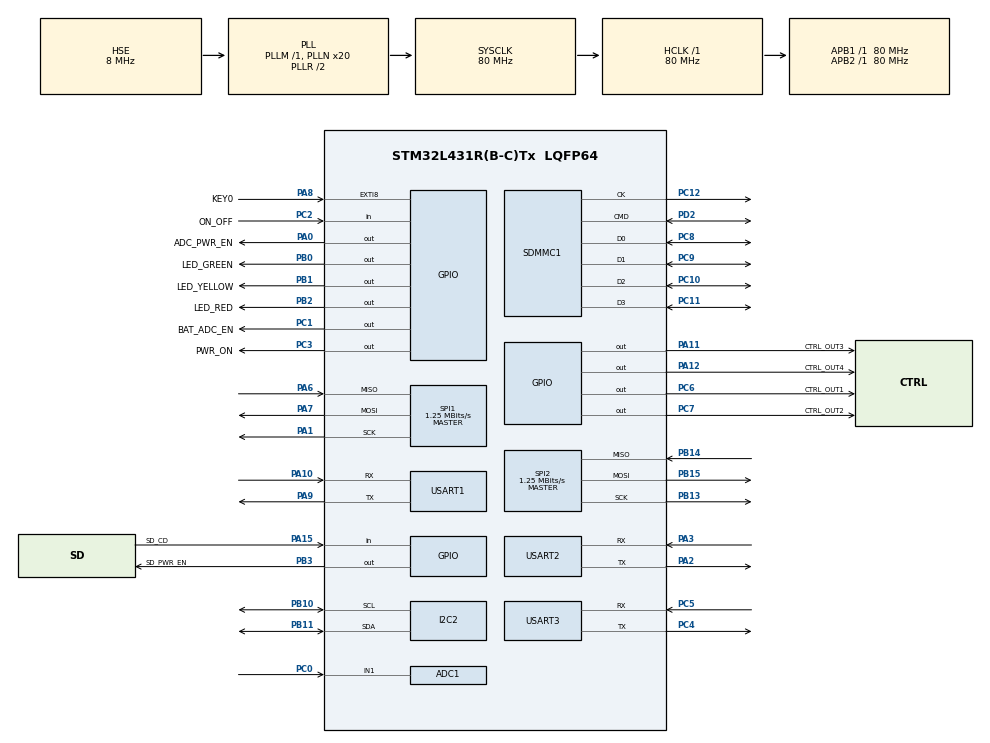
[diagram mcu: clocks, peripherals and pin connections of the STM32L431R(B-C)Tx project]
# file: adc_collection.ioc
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ADC1.Channel-0\#ChannelRegularConversion=ADC_CHANNEL_1
ADC1.ClockPrescaler=ADC_CLOCK_ASYNC_DIV4
ADC1.NbrOfConversionFlag=1
ADC1.OffsetNumber-0\#ChannelRegularConversion=ADC_OFFSET_NONE
ADC1.Rank-0\#ChannelRegularConversion=1
ADC1.SamplingTime-0\#ChannelRegularConversion=ADC_SAMPLETIME_247CYCLES_5
ADC1.master=1
Dma.Request0=SDMMC1_RX
Dma.Request1=SDMMC1_TX
Dma.SDMMC1_RX.0.Direction=DMA_PERIPH_TO_MEMORY
Dma.SDMMC1_RX.0.Instance=DMA2_Channel4
Dma.SDMMC1_RX.0.MemDataAlignment=DMA_MDATAALIGN_WORD
Dma.SDMMC1_RX.0.MemInc=DMA_MINC_ENABLE
Dma.SDMMC1_RX.0.Mode=DMA_NORMAL
Dma.SDMMC1_RX.0.PeriphDataAlignment=DMA_PDATAALIGN_WORD
Dma.SDMMC1_RX.0.PeriphInc=DMA_PINC_DISABLE
Dma.SDMMC1_RX.0.Priority=DMA_PRIORITY_HIGH
Dma.SDMMC1_TX.1.Direction=DMA_MEMORY_TO_PERIPH
Dma.SDMMC1_TX.1.Instance=DMA2_Channel5
Dma.SDMMC1_TX.1.MemDataAlignment=DMA_MDATAALIGN_WORD
Dma.SDMMC1_TX.1.MemInc=DMA_MINC_ENABLE
Dma.SDMMC1_TX.1.Mode=DMA_NORMAL
Dma.SDMMC1_TX.1.PeriphDataAlignment=DMA_PDATAALIGN_WORD
Dma.SDMMC1_TX.1.PeriphInc=DMA_PINC_DISABLE
Dma.SDMMC1_TX.1.Priority=DMA_PRIORITY_HIGH
FATFS.BSP.number=1
FATFS0.BSP.STBoard=false
FATFS0.BSP.api=Unknown
FATFS0.BSP.instance=PA15 (JTDI)
FATFS0.BSP.ip=GPIO
FATFS0.BSP.mode=Input
FATFS0.BSP.name=Detect_SDIO
FATFS0.BSP.solution=PA15 (JTDI)
I2C2.Timing=0x10D19CE4
Mcu.Family=STM32L4
Mcu.Name=STM32L431R(B-C)Tx
Mcu.Package=LQFP64
NVIC.DMA2_Channel4_IRQn=true\:0\:0\:false\:false\:true\:false\:true\:true
NVIC.DMA2_Channel5_IRQn=true\:0\:0\:false\:false\:true\:false\:true\:true
NVIC.EXTI9_5_IRQn=true\:0\:0\:false\:false\:true\:true\:true\:true
NVIC.PriorityGroup=NVIC_PRIORITYGROUP_4
NVIC.RTC_WKUP_IRQn=true\:0\:0\:false\:false\:true\:true\:true\:true
NVIC.SDMMC1_IRQn=true\:0\:0\:false\:false\:true\:true\:true\:true
NVIC.USART1_IRQn=true\:0\:0\:false\:false\:true\:true\:true\:true
PA0.GPIO_Label=ADC_PWR_EN
PA0.Signal=GPIO_Output
PA1.Mode=Full_Duplex_Master
PA1.Signal=SPI1_SCK
PA10.Mode=Asynchronous
PA10.Signal=USART1_RX
PA11.GPIO_Label=CTRL_OUT3
PA11.Signal=GPIO_Output
PA12.GPIO_Label=CTRL_OUT4
PA12.Signal=GPIO_Output
PA13\ (JTMS-SWDIO).Mode=Serial_Wire
PA13\ (JTMS-SWDIO).Signal=SYS_JTMS-SWDIO
PA14\ (JTCK-SWCLK).Mode=Serial_Wire
PA14\ (JTCK-SWCLK).Signal=SYS_JTCK-SWCLK
PA15\ (JTDI).GPIO_Label=SD_CD
PA15\ (JTDI).Signal=GPIO_Input
PA2.Mode=Asynchronous
PA2.Signal=USART2_TX
PA3.Mode=Asynchronous
PA3.Signal=USART2_RX
PA6.Mode=Full_Duplex_Master
PA6.Signal=SPI1_MISO
PA7.Mode=Full_Duplex_Master
PA7.Signal=SPI1_MOSI
PA8.GPIO_Label=KEY0
PA8.GPIO_ModeDefaultEXTI=GPIO_MODE_IT_FALLING
PA8.GPIO_PuPd=GPIO_PULLUP
PA8.Signal=GPXTI8
PA9.Mode=Asynchronous
PA9.Signal=USART1_TX
PB0.GPIO_Label=LED_GREEN
PB0.PinState=GPIO_PIN_RESET
PB0.Signal=GPIO_Output
PB1.GPIO_Label=LED_YELLOW
PB1.PinState=GPIO_PIN_RESET
PB1.Signal=GPIO_Output
PB10.Mode=I2C
PB10.Signal=I2C2_SCL
PB11.Mode=I2C
PB11.Signal=I2C2_SDA
PB13.Mode=Full_Duplex_Master
PB13.Signal=SPI2_SCK
PB14.Mode=Full_Duplex_Master
PB14.Signal=SPI2_MISO
PB15.Mode=Full_Duplex_Master
PB15.Signal=SPI2_MOSI
PB2.GPIO_Label=LED_RED
PB2.PinState=GPIO_PIN_RESET
PB2.Signal=GPIO_Output
PB3\ (JTDO-TRACESWO).GPIO_Label=SD_PWR_EN
PB3\ (JTDO-TRACESWO).Signal=GPIO_Output
PC0.Signal=ADCx_IN1
PC1.GPIO_Label=BAT_ADC_EN
PC1.Signal=GPIO_Output
PC10.Mode=SD_4_bits_Wide_bus
PC10.Signal=SDMMC1_D2
PC11.Mode=SD_4_bits_Wide_bus
PC11.Signal=SDMMC1_D3
PC12.Mode=SD_4_bits_Wide_bus
PC12.Signal=SDMMC1_CK
PC14-OSC32_IN\ (PC14).Mode=LSE-External-Oscillator
PC14-OSC32_IN\ (PC14).Signal=RCC_OSC32_IN
PC15-OSC32_OUT\ (PC15).Mode=LSE-External-Oscillator
PC15-OSC32_OUT\ (PC15).Signal=RCC_OSC32_OUT
PC2.GPIO_Label=ON_OFF
PC2.GPIO_PuPd=GPIO_PULLUP
PC2.Signal=GPIO_Input
PC3.GPIO_Label=PWR_ON
PC3.Signal=GPIO_Output
PC4.Mode=Asynchronous
PC4.Signal=USART3_TX
PC5.Mode=Asynchronous
PC5.Signal=USART3_RX
PC6.GPIO_Label=CTRL_OUT1
PC6.Signal=GPIO_Output
PC7.GPIO_Label=CTRL_OUT2
PC7.Signal=GPIO_Output
PC8.Mode=SD_4_bits_Wide_bus
PC8.Signal=SDMMC1_D0
PC9.Mode=SD_4_bits_Wide_bus
PC9.Signal=SDMMC1_D1
PD2.Mode=SD_4_bits_Wide_bus
PD2.Signal=SDMMC1_CMD
PH0-OSC_IN\ (PH0).Mode=HSE-External-Oscillator
PH0-OSC_IN\ (PH0).Signal=RCC_OSC_IN
PH1-OSC_OUT\ (PH1).Mode=HSE-External-Oscillator
PH1-OSC_OUT\ (PH1).Signal=RCC_OSC_OUT
ProjectManager.HeapSize=0x200
ProjectManager.StackSize=0x1000
ProjectManager.TargetToolchain=MDK-ARM V5.32
RCC.ADCFreq_Value=32000000
RCC.AHBFreq_Value=80000000
RCC.APB1Freq_Value=80000000
RCC.APB1TimFreq_Value=80000000
RCC.APB2Freq_Value=80000000
RCC.APB2TimFreq_Value=80000000
RCC.CortexFreq_Value=80000000
RCC.HCLKFreq_Value=80000000
RCC.HSE_VALUE=8000000
RCC.HSI48_VALUE=48000000
RCC.HSI_VALUE=16000000
RCC.MSI_VALUE=4000000
RCC.PLLN=20
RCC.PLLSourceVirtual=RCC_PLLSOURCE_HSE
RCC.RTCClockSelection=RCC_RTCCLKSOURCE_LSE
RCC.SYSCLKFreq_VALUE=80000000
RCC.SYSCLKSource=RCC_SYSCLKSOURCE_PLLCLK
RCC.USART1CLockSelection=RCC_USART1CLKSOURCE_HSI
RCC.VCOOutputFreq_Value=160000000
SDMMC1.ClockDiv=2
SDMMC1.HardwareFlowControl=SDMMC_HARDWARE_FLOW_CONTROL_ENABLE
SH.ADCx_IN1.0=ADC1_IN1,IN1-Single-Ended
SPI1.BaudRatePrescaler=SPI_BAUDRATEPRESCALER_64
SPI1.CLKPhase=SPI_PHASE_2EDGE
SPI1.CLKPolarity=SPI_POLARITY_HIGH
SPI1.CalculateBaudRate=1.25 MBits/s
SPI1.DataSize=SPI_DATASIZE_8BIT
SPI1.Direction=SPI_DIRECTION_2LINES
SPI1.Mode=SPI_MODE_MASTER
SPI1.VirtualType=VM_MASTER
SPI2.BaudRatePrescaler=SPI_BAUDRATEPRESCALER_64
SPI2.CLKPhase=SPI_PHASE_2EDGE
SPI2.CLKPolarity=SPI_POLARITY_HIGH
SPI2.CalculateBaudRate=1.25 MBits/s
SPI2.DataSize=SPI_DATASIZE_8BIT
SPI2.Direction=SPI_DIRECTION_2LINES
SPI2.Mode=SPI_MODE_MASTER
SPI2.VirtualType=VM_MASTER
TIM6.Period=49999
TIM6.Prescaler=7999
TIM7.Period=9999
TIM7.Prescaler=7999
USART1.VirtualMode-Asynchronous=VM_ASYNC
USART2.VirtualMode-Asynchronous=VM_ASYNC
USART3.VirtualMode-Asynchronous=VM_ASYNC
VP_FATFS_VS_SDIO.Mode=SDIO
VP_RTC_VS_RTC_Activate.Mode=RTC_Enabled
VP_RTC_VS_RTC_Calendar.Mode=RTC_Calendar
VP_RTC_VS_RTC_WakeUp_intern.Mode=WakeUp
VP_TIM6_VS_ClockSourceINT.Mode=Enable_Timer
VP_TIM7_VS_ClockSourceINT.Mode=Enable_Timer
board=custom

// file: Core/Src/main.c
/* USER CODE BEGIN Header */
/**
  ******************************************************************************
  * @file           : main.c
  * @brief          : Main program body
  ******************************************************************************
  * @attention
  *
  * Copyright (c) 2026 STMicroelectronics.
  * All rights reserved.
  *
  * This software is licensed under terms that can be found in the LICENSE file
  * in the root directory of this software component.
  * If no LICENSE file comes with this software, it is provided AS-IS.
  *
  ******************************************************************************
  */
/* USER CODE END Header */
#include "main.h"
#include "adc.h"
#include "dma.h"
#include "fatfs.h"
#include "i2c.h"
#include "rtc.h"
#include "sdmmc.h"
#include "spi.h"
#include "tim.h"
#include "usart.h"
#include "gpio.h"

/* USER CODE BEGIN Includes */
#include <stdio.h>
#include "app_rtc.h"
#include "ad7124.h"
#include "storage.h"
#include "app_config_store.h"
#include "modbus_rtu.h"
#include "app_modbus.h"
#include "recorder.h"
#include "file_browser.h"
#include "ymodem.h"
#include "battery.h"
#include "control_outputs.h"
/* USER CODE END Includes */

/* USER CODE BEGIN PD */
#define APP_POWER_ON_HOLD_TIME_MS 2000U
#define APP_POWER_ON_CHECK_PERIOD_MS 10U
#define APP_POWER_OFF_HOLD_TIME_MS 3000U
#define APP_IDLE_SLEEP_MIN_MS 20U
#define APP_SERIAL_ACTIVE_HOLD_MS 5000U
#define APP_KEY0_HOLD_TIME_MS 2000U
#define APP_SLEEP_LED_FLASH_MS 120U
#define APP_STOP2_MAX_SLEEP_SECONDS 30U
#define APP_BOOT_AWAKE_HOLD_MS 10000U
#define APP_ADC_POWER_SETTLE_MS 500U
#define APP_AD7124_SAMPLE_TIMEOUT_MS 500U
#define APP_SD_POWER_SETTLE_MS 1000U
#define APP_SD_WRITE_LED_MS 700U
#define APP_ERROR_LED_MS 700U

/* IWDG removed from CubeMX. Stub the refresh sites so legacy calls compile
   as no-ops; remove this define if IWDG is re-enabled. The macro skips
   evaluation of the argument so a missing hiwdg symbol doesn't error. */
#define HAL_IWDG_Refresh(p) ((void)0)

/* USER CODE END PD */

/* USER CODE BEGIN PV */
static AD7124_HandleTypeDef had7124;
static AD7124_HandleTypeDef had7124_2;   /* second AD7124 on SPI2 (ADC2, channels 16..31) */
static AppConfigStore app_config_store;
static AppConfigImage app_config;
static uint8_t ad7124_ready = 0U;
static uint8_t ad7124_2_ready = 0U;   /* 1 when ADC2 is detected + configured */
static uint8_t ad7124_loop_print_enable = 0U;
static uint8_t storage_boot_test_enable = 1U;
static uint32_t ad7124_print_tick = 0U;
static uint32_t led_blink_tick = 0U;
static uint8_t modbus_enabled = 1U;
static uint8_t modbus_rx_armed = 0U;
static uint8_t eeprom_ok = 0U;
static uint16_t boot_eeprom_diag = 0U;   /* diag: boot EEPROM fail step(0x1/2/3xxx)+I2C ErrorCode, published to ERR_CODE 0x0053 */
static uint8_t rtc_ok = 0U;
static uint8_t sd_ok = 0U;
static uint8_t adc_powered = 0U;
static uint32_t sample_tick = 0U;
static uint8_t prev_run_enable = 0U;
static uint32_t battery_tick = 0U;
/* User-toggled awake mode: 1 = stay awake (run continuously), 0 = sleep when
   nothing else needs the CPU. Set to 1 by a wake-up press from STOP2,
   cleared by a long-press (>= APP_KEY0_HOLD_TIME_MS) while awake. */
static uint8_t s_user_awake = 0U;
static uint8_t key0_press_active = 0U;
static uint32_t key0_press_start_tick = 0U;
static uint8_t key0_long_press_handled = 0U;
/* Set when EXTI wakes the CPU from STOP2 so AppKey0_PollModeToggle ignores
   the press that just woke us (otherwise that same press could immediately
   satisfy the 2 s long-press and put us right back to sleep). */
static uint8_t key0_wakeup_consume = 0U;
static uint8_t idle_sleep_state = 0U;
/* Boot-time visible awake window: forces the device to stay awake (with the
   green LED blinking) for the first APP_BOOT_AWAKE_HOLD_MS after init so the
   user can see the board powered up successfully before it drops into STOP2.
   Held by AppMaybeSleepIdle and seeded by main right before the loop. */
static uint8_t  boot_hold_active = 0U;
static uint32_t boot_hold_started_tick = 0U;
static uint8_t led_notice_active = 0U;
static uint8_t led_notice_phase = 0U;
static uint32_t led_notice_tick = 0U;
static volatile uint8_t stop2_rtc_wakeup = 0U;
static uint8_t record_start_waiting = 0U;
#define BATTERY_UPDATE_INTERVAL_MS  30000U

/* USER CODE END PV */

void SystemClock_Config(void);
void PeriphCommonClock_Config(void);
/* USER CODE BEGIN PFP */
static void AppUart1_EnableStopWakeup(void);
static void AppUart1_RecoverAfterStop(void);
static void AppModbusRx_SetArmed(uint8_t armed);
static HAL_StatusTypeDef AppAd7124_EnsureReady(void);
static void AppAd7124_2_TryBringUp(void);
static uint8_t AppScanOneAdc(AD7124_HandleTypeDef *dev, uint8_t base_channel);
static void AppAd7124_PowerOffForSleep(void);
static void AppPeripherals_DeInitForStop(void);
static void AppPeripherals_ReInitAfterStop(void);
static void AppBlinkAdcError(void);
static void AppBlinkStorageError(void);
/* Silence ARMCC "declared but never referenced" for the wake-up helper while
   it stays parked behind comments in main(). Switch back to a plain extern
   the moment AppUart1_EnableStopWakeup is called again. */
#ifdef __ARMCC_VERSION
#pragma diag_suppress 177
#endif

/* USER CODE END PFP */

/* USER CODE BEGIN 0 */
static void PrintSdDebug(const char *tag)
{
  GPIO_PinState cd_state;
  uint32_t hal_error;
  HAL_SD_StateTypeDef hal_state;

  cd_state = HAL_GPIO_ReadPin(SD_CD_GPIO_Port, SD_CD_Pin);
  hal_state = HAL_SD_GetState(&hsd1);
  hal_error = HAL_SD_GetError(&hsd1);

  printf("[SD] %s diag: SD_CD=%u HAL_STATE=%lu HAL_ERR=0x%08lX BLOCK_NBR=%lu BLOCK_SIZE=%lu CARD_TYPE=%lu\r\n",
         tag,
         (unsigned)((cd_state == GPIO_PIN_SET) ? 1U : 0U),
         (unsigned long)hal_state,
         (unsigned long)hal_error,
         (unsigned long)hsd1.SdCard.LogBlockNbr,
         (unsigned long)hsd1.SdCard.LogBlockSize,
         (unsigned long)hsd1.SdCard.CardType);
}

static void ResetSdmmcForRetry(void)
{
  (void)f_mount(NULL, (TCHAR const *)SDPath, 0U);
  (void)HAL_SD_DeInit(&hsd1);
  MX_SDMMC1_SD_Init();
}

static uint8_t AppPower_CheckOnOffLowAndLatch(void)
{
  uint32_t low_start_tick = 0UL;

  HAL_GPIO_WritePin(PWR_ON_GPIO_Port, PWR_ON_Pin, GPIO_PIN_RESET);

  if (HAL_GPIO_ReadPin(ON_OFF_GPIO_Port, ON_OFF_Pin) != GPIO_PIN_RESET)
  {
    return 0U;
  }

  low_start_tick = HAL_GetTick();
  while ((HAL_GetTick() - low_start_tick) < APP_POWER_ON_HOLD_TIME_MS)
  {
    if (HAL_GPIO_ReadPin(ON_OFF_GPIO_Port, ON_OFF_Pin) != GPIO_PIN_RESET)
    {
      return 0U;
    }

    HAL_IWDG_Refresh(&hiwdg);
    HAL_Delay(APP_POWER_ON_CHECK_PERIOD_MS);
  }

  HAL_GPIO_WritePin(PWR_ON_GPIO_Port, PWR_ON_Pin, GPIO_PIN_SET);
  return 1U;
}

/* Modbus reconfigure callback: re-apply current config to AD7124 hardware.
   Returns 0 on success, 1 on failure (becomes a Modbus exception). */
static uint8_t AppModbus_ReconfigureAd7124(void)
{
  if (AppAd7124_EnsureReady() != HAL_OK)
  {
    return 1U;
  }
  if (AD7124_ApplyConfig(&had7124, &app_config, 0U) != HAL_OK)
  {
    return 1U;
  }
  if ((ad7124_2_ready != 0U) &&
      (AD7124_ApplyConfig(&had7124_2, &app_config, APP_CONFIG_CHANNELS_PER_ADC) != HAL_OK))
  {
    return 1U;
  }
  return 0U;
}

static HAL_StatusTypeDef AppAd7124_EnsureReady(void)
{
  HAL_StatusTypeDef st;
  uint8_t id = 0U;

  if ((adc_powered != 0U) && (ad7124_ready != 0U))
  {
    return HAL_OK;
  }

  AD7124_BoardPowerOn(APP_ADC_POWER_SETTLE_MS);
  adc_powered = 1U;
  MX_SPI1_Init();

  st = AD7124_Init(&had7124, &hspi1);
  if (st != HAL_OK)
  {
    ad7124_ready = 0U;
    return st;
  }

  st = AD7124_ReadID(&had7124, &id);
  if ((st != HAL_OK) || (AD7124_IsDeviceID(id) == 0U))
  {
    ad7124_ready = 0U;
    return (st == HAL_OK) ? HAL_ERROR : st;
  }

  st = AD7124_ApplyConfig(&had7124, &app_config, 0U);
  ad7124_ready = (st == HAL_OK) ? 1U : 0U;

  /* ADC2 is optional: bring it up when ADC1 is good. A missing or
     unresponsive ADC2 just leaves ad7124_2_ready = 0 (16-channel mode). */
  if (ad7124_ready != 0U)
  {
    AppAd7124_2_TryBringUp();
  }
  else
  {
    ad7124_2_ready = 0U;
  }

  return st;
}

static void AppAd7124_PowerOffForSleep(void)
{
  if (adc_powered == 0U)
  {
    return;
  }

  (void)HAL_SPI_DeInit(&hspi1);
  (void)HAL_SPI_DeInit(&hspi2);
  AD7124_BoardPowerOff();
  adc_powered = 0U;
  ad7124_2_ready = 0U;
}

/* Detect + configure ADC2 on SPI2. Optional: on any failure ad7124_2_ready
   stays 0 and the device keeps running as a 16-channel unit. */
static void AppAd7124_2_TryBringUp(void)
{
  HAL_StatusTypeDef st2;
  uint8_t id2 = 0U;

  ad7124_2_ready = 0U;

  MX_SPI2_Init();
  if (AD7124_Init(&had7124_2, &hspi2) != HAL_OK)
  {
    return;
  }
  st2 = AD7124_ReadID(&had7124_2, &id2);
  if ((st2 != HAL_OK) || (AD7124_IsDeviceID(id2) == 0U))
  {
    return;
  }
  st2 = AD7124_ApplyConfig(&had7124_2, &app_config, APP_CONFIG_CHANNELS_PER_ADC);
  ad7124_2_ready = (st2 == HAL_OK) ? 1U : 0U;
}

/* Scan one AD7124 for its enabled channels, mapping the device status
   channel (0..15) to logical base_channel+ch. Modbus is polled between
   reads so the host stays responsive during the scan. Returns #samples. */
static uint8_t AppScanOneAdc(AD7124_HandleTypeDef *dev, uint8_t base_channel)
{
  uint8_t enabled_count = 0U;
  uint8_t samples_read = 0U;
  uint8_t k;

  for (k = 0U; k < APP_CONFIG_CHANNELS_PER_ADC; k++)
  {
    if (app_config.channels[base_channel + k].enable != 0U)
    {
      enabled_count++;
    }
  }

  while ((samples_read < enabled_count) && (samples_read < APP_CONFIG_CHANNELS_PER_ADC))
  {
    uint32_t raw_data = 0U;
    int32_t signed_data = 0;
    int32_t input_uv = 0;
    uint8_t sample_status = 0U;
    uint8_t logical_channel;
    uint8_t ch_gain;
    HAL_StatusTypeDef sample_st;

    if (modbus_enabled != 0U)
    {
      AppModbus_UpdateSystemStatus(ad7124_ready, eeprom_ok, rtc_ok, sd_ok, app_config.run_enable);
      ModbusRtu_Poll();
    }

    sample_st = AD7124_ReadSample(dev, &raw_data, &signed_data,
                                  &sample_status, APP_AD7124_SAMPLE_TIMEOUT_MS);
    if (sample_st != HAL_OK)
    {
      break;
    }

    logical_channel = (uint8_t)(base_channel + AD7124_StatusToChannel(sample_status));
    ch_gain = (app_config.channels[logical_channel].gain != 0U) ?
              app_config.channels[logical_channel].gain : AD7124_DEFAULT_GAIN;
    input_uv = AD7124_BipolarCodeToMicrovolts(raw_data,
                                              (int32_t)app_config.adc_vref_mv, ch_gain);
    (void)signed_data;

    if (modbus_enabled != 0U)
    {
      AppModbus_UpdateChannelData(logical_channel, raw_data, input_uv);
    }
    Recorder_OnChannelSample(logical_channel, input_uv);

    samples_read++;
    HAL_IWDG_Refresh(&hiwdg);
  }

  return samples_read;
}

static void AppPeripherals_DeInitForStop(void)
{
  HAL_GPIO_WritePin(BAT_ADC_EN_GPIO_Port, BAT_ADC_EN_Pin, GPIO_PIN_RESET);
  (void)HAL_ADC_DeInit(&hadc1);
  (void)HAL_UART_DeInit(&huart1);
  (void)HAL_UART_DeInit(&huart2);
  (void)HAL_UART_DeInit(&huart3);
  (void)HAL_TIM_Base_DeInit(&htim6);
  (void)HAL_TIM_Base_DeInit(&htim7);
}

static void AppPeripherals_ReInitAfterStop(void)
{
  MX_ADC1_Init();
  MX_USART1_UART_Init();
  MX_USART2_UART_Init();
  MX_USART3_UART_Init();
  MX_TIM6_Init();
  MX_TIM7_Init();
}

/* Non-blocking long-press shutdown detector. Call once per main-loop
   iteration. ON_OFF must stay LOW continuously for APP_POWER_OFF_HOLD_TIME_MS;
   releasing it (HIGH) at any point cancels the shutdown. When the hold is
   satisfied, PWR_ON is driven LOW to cut the latched power rail. */
static void AppPower_PollShutdown(void)
{
  static uint8_t press_active = 0U;
  static uint32_t press_start_tick = 0U;

  if (HAL_GPIO_ReadPin(ON_OFF_GPIO_Port, ON_OFF_Pin) == GPIO_PIN_RESET)
  {
    /* ON_OFF is held low */
    if (press_active == 0U)
    {
      press_active = 1U;
      press_start_tick = HAL_GetTick();
    }
    else if ((HAL_GetTick() - press_start_tick) >= APP_POWER_OFF_HOLD_TIME_MS)
    {
      /* Held long enough: cut power. This removes the board's own supply,
         so execution stops here once the rail collapses. */
      (void)Recorder_Flush();
      HAL_GPIO_WritePin(PWR_ON_GPIO_Port, PWR_ON_Pin, GPIO_PIN_RESET);
      while (1)
      {
        /* Wait for power to drop. Keep feeding the watchdog so we don't
           reset-and-relatch if the user is still holding the key. */
        HAL_IWDG_Refresh(&hiwdg);
      }
    }
  }
  else
  {
    /* Released before hold time elapsed: cancel */
    press_active = 0U;
  }
}

static void AppPower_HoldLatch(void)
{
  HAL_GPIO_WritePin(PWR_ON_GPIO_Port, PWR_ON_Pin, GPIO_PIN_SET);
}

static void AppUart1_EnableStopWakeup(void)
{
  UART_WakeUpTypeDef wakeup_config = {0};

  wakeup_config.WakeUpEvent = UART_WAKEUP_ON_STARTBIT;
  if (HAL_UARTEx_StopModeWakeUpSourceConfig(&huart1, wakeup_config) != HAL_OK)
  {
    Error_Handler();
  }
  if (HAL_UARTEx_EnableClockStopMode(&huart1) != HAL_OK)
  {
    Error_Handler();
  }
  if (HAL_UARTEx_EnableStopMode(&huart1) != HAL_OK)
  {
    Error_Handler();
  }
  __HAL_UART_CLEAR_FLAG(&huart1, UART_CLEAR_WUF);
  __HAL_UART_ENABLE_IT(&huart1, UART_IT_WUF);
}

static void AppUart1_RecoverAfterStop(void)
{
  __HAL_UART_DISABLE_IT(&huart1, UART_IT_RXNE);
  __HAL_UART_DISABLE_IT(&huart1, UART_IT_WUF);
  __HAL_UART_CLEAR_FLAG(&huart1, UART_CLEAR_WUF);
  __HAL_UART_CLEAR_FEFLAG(&huart1);
  __HAL_UART_CLEAR_NEFLAG(&huart1);
  __HAL_UART_CLEAR_OREFLAG(&huart1);
  __HAL_UART_CLEAR_IDLEFLAG(&huart1);
  if (__HAL_UART_GET_FLAG(&huart1, UART_FLAG_RXNE))
  {
    (void)huart1.Instance->RDR;
  }

  /* Stop-wake disabled (see init in main). USART1 is reinitialized by
     AppPeripherals_ReInitAfterStop; only restore the Modbus RX gate here. */
  /* AppUart1_EnableStopWakeup(); */
  modbus_rx_armed = 0U;
  AppModbusRx_SetArmed((s_user_awake != 0U) ? 1U : 0U);
}

static void AppModbusRx_SetArmed(uint8_t armed)
{
  if (modbus_enabled == 0U)
  {
    return;
  }

  if (armed != 0U)
  {
    if (modbus_rx_armed == 0U)
    {
      ModbusRtu_ResetRx();
      ModbusRtu_SetLastRxTick(0U);
      modbus_rx_armed = 1U;
    }
  }
  else
  {
    if (modbus_rx_armed != 0U)
    {
      ModbusRtu_PauseRx();
      ModbusRtu_SetLastRxTick(0U);
      modbus_rx_armed = 0U;
    }
  }
}

static uint8_t AppRecordStartEnabled(void)
{
  return ((app_config.run_enable != 0U) &&
          (app_config.record_start_enable != 0U)) ? 1U : 0U;
}

static uint8_t AppDateTime_IsLeapYear(uint16_t year)
{
  if ((year % 400U) == 0U)
  {
    return 1U;
  }
  if ((year % 100U) == 0U)
  {
    return 0U;
  }
  return ((year % 4U) == 0U) ? 1U : 0U;
}

static uint8_t AppDateTime_DaysInMonth(uint16_t year, uint8_t month)
{
  static const uint8_t days_table[12] =
  {
    31U, 28U, 31U, 30U, 31U, 30U,
    31U, 31U, 30U, 31U, 30U, 31U
  };

  if ((month < 1U) || (month > 12U))
  {
    return 31U;
  }
  if ((month == 2U) && (AppDateTime_IsLeapYear(year) != 0U))
  {
    return 29U;
  }
  return days_table[month - 1U];
}

static uint32_t AppDateTime_ToSeconds(const AppRtcDateTime *dt)
{
  uint32_t days = 0UL;
  uint16_t year;
  uint8_t month;

  if (dt == NULL)
  {
    return 0UL;
  }

  for (year = 2000U; year < dt->year; year++)
  {
    days += (AppDateTime_IsLeapYear(year) != 0U) ? 366UL : 365UL;
  }
  for (month = 1U; month < dt->month; month++)
  {
    days += AppDateTime_DaysInMonth(dt->year, month);
  }
  days += (uint32_t)(dt->day - 1U);

  return (days * 86400UL) +
         ((uint32_t)dt->hour * 3600UL) +
         ((uint32_t)dt->minute * 60UL) +
         (uint32_t)dt->second;
}

static AppRtcDateTime AppRecordStartDateTime(void)
{
  AppRtcDateTime dt;

  dt.year = app_config.record_start_year;
  dt.month = app_config.record_start_month;
  dt.day = app_config.record_start_day;
  dt.hour = app_config.record_start_hour;
  dt.minute = app_config.record_start_minute;
  dt.second = app_config.record_start_second;

  return dt;
}

static uint32_t AppRecordStartSecondsUntil(void)
{
  AppRtcDateTime now;
  AppRtcDateTime start;
  uint32_t now_s;
  uint32_t start_s;

  if (AppRecordStartEnabled() == 0U)
  {
    return 0UL;
  }

  if (AppRtc_GetDateTime(&now) == 0U)
  {
    return 0UL;
  }

  start = AppRecordStartDateTime();
  now_s = AppDateTime_ToSeconds(&now);
  start_s = AppDateTime_ToSeconds(&start);

  return (now_s < start_s) ? (start_s - now_s) : 0UL;
}

static uint8_t AppRecordStartReached(void)
{
  return (AppRecordStartSecondsUntil() == 0UL) ? 1U : 0U;
}

static uint32_t AppEffectiveSampleIntervalSeconds(void)
{
  uint32_t interval = app_config.sample_interval_sec;

  if (app_config.average_enable == 0U)
  {
    interval = app_config.record_interval_sec;
  }

  return (interval == 0UL) ? 1UL : interval;
}

static uint8_t AppSamplingDueSoon(uint32_t now_tick)
{
  uint32_t interval_ms;
  uint32_t elapsed;

  if ((app_config.run_enable == 0U) || (ad7124_ready == 0U))
  {
    return 0U;
  }

  if (AppRecordStartReached() == 0U)
  {
    return 0U;
  }

  interval_ms = AppEffectiveSampleIntervalSeconds() * 1000UL;

  elapsed = now_tick - sample_tick;
  if (elapsed >= interval_ms)
  {
    return 1U;
  }

  return ((interval_ms - elapsed) <= APP_IDLE_SLEEP_MIN_MS) ? 1U : 0U;
}

static uint32_t AppNextStop2SleepSeconds(uint32_t now_tick)
{
  uint32_t sleep_seconds = APP_STOP2_MAX_SLEEP_SECONDS;

  if ((app_config.run_enable != 0U) && (ad7124_ready != 0U))
  {
    uint32_t start_wait_seconds = AppRecordStartSecondsUntil();
    uint32_t interval_ms = AppEffectiveSampleIntervalSeconds() * 1000UL;
    uint32_t elapsed;
    uint32_t remaining_ms;
    uint32_t sample_limited_seconds;

    if (start_wait_seconds > 0UL)
    {
      if (start_wait_seconds < sleep_seconds)
      {
        sleep_seconds = start_wait_seconds;
      }
      return sleep_seconds;
    }

    elapsed = now_tick - sample_tick;
    if (elapsed >= interval_ms)
    {
      return 0UL;
    }

    remaining_ms = interval_ms - elapsed;
    if (remaining_ms <= APP_IDLE_SLEEP_MIN_MS)
    {
      return 0UL;
    }

    /* RTC wakeup uses a 1 Hz clock here, so round down. If less than one
       second remains, stay awake and let the normal scheduler run the scan. */
    sample_limited_seconds = remaining_ms / 1000UL;
    if (sample_limited_seconds == 0UL)
    {
      return 0UL;
    }
    if (sample_limited_seconds < sleep_seconds)
    {
      sleep_seconds = sample_limited_seconds;
    }
  }

  return sleep_seconds;
}

static uint8_t AppSerialRecentlyActive(uint32_t now_tick)
{
  uint32_t last;

  if (modbus_enabled == 0U)
  {
    return 0U;
  }

  /* Reject the "no RX ever" case: last_rx_tick is 0 until the very first
     byte arrives. Without this guard, AppSerialRecentlyActive returns true
     for the first 60 seconds after every boot — the device refuses to sleep
     even though nothing has talked to it. */
  last = ModbusRtu_LastRxTick();
  if (last == 0U)
  {
    return 0U;
  }

  return ((now_tick - last) <= APP_SERIAL_ACTIVE_HOLD_MS) ? 1U : 0U;
}

static void AppSetAllStatusLeds(GPIO_PinState state)
{
  HAL_GPIO_WritePin(LED_GREEN_GPIO_Port, LED_GREEN_Pin, state);
  HAL_GPIO_WritePin(LED_YELLOW_GPIO_Port, LED_YELLOW_Pin, state);
  HAL_GPIO_WritePin(LED_RED_GPIO_Port, LED_RED_Pin, state);
}

/* Visible yellow blink after an SD write commits. This intentionally costs a
   little awake time so the user can actually see the storage heartbeat. */
static void AppBlinkSdWrite(void)
{
  HAL_GPIO_WritePin(LED_YELLOW_GPIO_Port, LED_YELLOW_Pin, GPIO_PIN_SET);
  HAL_Delay(APP_SD_WRITE_LED_MS);
  HAL_GPIO_WritePin(LED_YELLOW_GPIO_Port, LED_YELLOW_Pin, GPIO_PIN_RESET);
}

static void AppBlinkAdcError(void)
{
  HAL_GPIO_WritePin(LED_GREEN_GPIO_Port, LED_GREEN_Pin, GPIO_PIN_SET);
  HAL_Delay(APP_ERROR_LED_MS);
  HAL_GPIO_WritePin(LED_GREEN_GPIO_Port, LED_GREEN_Pin, GPIO_PIN_RESET);
}

static void AppBlinkStorageError(void)
{
  HAL_GPIO_WritePin(LED_RED_GPIO_Port, LED_RED_Pin, GPIO_PIN_SET);
  HAL_Delay(APP_ERROR_LED_MS);
  HAL_GPIO_WritePin(LED_RED_GPIO_Port, LED_RED_Pin, GPIO_PIN_RESET);
}

static void AppLedNoticeStart(void)
{
  led_notice_active = 1U;
  led_notice_phase = 0U;
  led_notice_tick = HAL_GetTick();
  AppSetAllStatusLeds(GPIO_PIN_SET);
}

static uint8_t AppLedNoticePoll(void)
{
  if (led_notice_active == 0U)
  {
    return 0U;
  }

  if ((HAL_GetTick() - led_notice_tick) < APP_SLEEP_LED_FLASH_MS)
  {
    return 1U;
  }

  led_notice_tick = HAL_GetTick();
  if (led_notice_phase == 0U)
  {
    led_notice_phase = 1U;
    AppSetAllStatusLeds(GPIO_PIN_RESET);
    return 1U;
  }

  led_notice_active = 0U;
  led_notice_phase = 0U;
  return 0U;
}

static void AppAdvanceHalTick(uint32_t elapsed_ms)
{
  while (elapsed_ms > 0UL)
  {
    HAL_IncTick();
    elapsed_ms--;
  }
}

void HAL_RTCEx_WakeUpTimerEventCallback(RTC_HandleTypeDef *hrtc)
{
  (void)hrtc;
  stop2_rtc_wakeup = 1U;
}

void HAL_GPIO_EXTI_Callback(uint16_t GPIO_Pin)
{
  if (GPIO_Pin == KEY0_Pin)
  {
    /* Spurious-EXTI guard: re-read the line. Any noise-induced pulse will
       already be gone by the time we get here (Cortex-M4 IRQ entry latency
       ~12 cycles + HAL prologue). A real press holds the line low for ms. */
    if (HAL_GPIO_ReadPin(KEY0_GPIO_Port, KEY0_Pin) != GPIO_PIN_RESET)
    {
      return;
    }

    /* Wake-up press: if we were idle-sleeping (already in STOP2 or about to
       enter), flip into user-awake mode and let the press that triggered the
       wake-up be consumed (don't let AppKey0_PollModeToggle interpret it as a
       long-press to go back to sleep). */
    if (idle_sleep_state != 0U)
    {
      s_user_awake = 1U;
      idle_sleep_state = 0U;
      led_blink_tick = 0U;
      key0_wakeup_consume = 1U;
      AppLedNoticeStart();
    }
  }
}

static void AppEnterStop2Slice(uint32_t sleep_seconds)
{
  HAL_StatusTypeDef rtc_status;

  if (sleep_seconds == 0UL)
  {
    return;
  }

  AppPower_HoldLatch();
  AppSetAllStatusLeds(GPIO_PIN_RESET);

  /* Keep SD powered/mounted across STOP2 for now. Power-cycling the card after
     every sample made the boot self-test pass but runtime recorder and file
     browser mounts fail on some cards. Once runtime writes are stable, SD
     power-down can be reintroduced behind a measured retry path. */
  AppAd7124_PowerOffForSleep();
  AppModbusRx_SetArmed(0U);
  AppPeripherals_DeInitForStop();

  /* Clear any stale EXTI pending bit for KEY0 before entering STOP2. If a
     glitch already latched a pending interrupt on PA8 (line 8), wake-up
     would re-enter HAL_GPIO_EXTI_Callback immediately and look like a real
     press. We also clear the NVIC pending so a queued interrupt from before
     the last loop iteration doesn't fire spuriously on resume. */
  __HAL_GPIO_EXTI_CLEAR_IT(KEY0_Pin);
  HAL_NVIC_ClearPendingIRQ(KEY0_EXTI_IRQn);

  (void)HAL_RTCEx_DeactivateWakeUpTimer(&hrtc);
  stop2_rtc_wakeup = 0U;
  rtc_status = HAL_RTCEx_SetWakeUpTimer_IT(&hrtc,
                                           sleep_seconds,
                                           RTC_WAKEUPCLOCK_CK_SPRE_16BITS);
  if (rtc_status != HAL_OK)
  {
    AppPower_HoldLatch();
    HAL_PWR_EnterSLEEPMode(PWR_MAINREGULATOR_ON, PWR_SLEEPENTRY_WFI);
    return;
  }

  HAL_SuspendTick();
  HAL_PWREx_EnterSTOP2Mode(PWR_STOPENTRY_WFI);

  SystemClock_Config();
  PeriphCommonClock_Config();
  AppPower_HoldLatch();
  HAL_ResumeTick();
  if (stop2_rtc_wakeup != 0U)
  {
    AppAdvanceHalTick(sleep_seconds * 1000UL);
  }
  AppPeripherals_ReInitAfterStop();
  AppUart1_RecoverAfterStop();
  Storage_InvalidateMount();
  Recorder_InvalidateMount();
  HAL_IWDG_Refresh(&hiwdg);
  (void)HAL_RTCEx_DeactivateWakeUpTimer(&hrtc);
}

static void AppKey0_PollModeToggle(void)
{
  if (HAL_GPIO_ReadPin(KEY0_GPIO_Port, KEY0_Pin) == GPIO_PIN_RESET)
  {
    /* The press that woke us from STOP2 is consumed: don't start the long-press
       counter until the user lifts the key, so a wake press of any duration
       just brings us to user-awake mode without bouncing back to sleep. */
    if (key0_wakeup_consume != 0U)
    {
      return;
    }

    if (key0_press_active == 0U)
    {
      key0_press_active = 1U;
      key0_press_start_tick = HAL_GetTick();
      key0_long_press_handled = 0U;
    }
    else if ((key0_long_press_handled == 0U) &&
             ((HAL_GetTick() - key0_press_start_tick) >= APP_KEY0_HOLD_TIME_MS))
    {
      /* Long-press: force the device to sleep. Works in any awake state —
         user-awake mode, post-RTC scan, or any time the host-serial window
         is keeping us up. Push last_rx_tick well into the past so
         AppSerialRecentlyActive returns 0 on the next iteration. */
      s_user_awake = 0U;
      ModbusRtu_SetLastRxTick(HAL_GetTick() - APP_SERIAL_ACTIVE_HOLD_MS - 1000U);
      key0_long_press_handled = 1U;
      led_blink_tick = 0U;
      AppLedNoticeStart();
    }
  }
  else
  {
    /* Key released: clear all per-press state so the next press is fresh. */
    key0_press_active = 0U;
    key0_long_press_handled = 0U;
    key0_wakeup_consume = 0U;
  }
}

static void AppMaybeSleepIdle(void)
{
  uint32_t sleep_seconds;

  /* Boot-time visible-alive window. Treat exactly like user-awake mode:
     refuse to enter STOP2 until APP_BOOT_AWAKE_HOLD_MS has elapsed since the
     window was armed. Auto-clears so subsequent idle cycles can sleep. */
  if (boot_hold_active != 0U)
  {
    if ((HAL_GetTick() - boot_hold_started_tick) < APP_BOOT_AWAKE_HOLD_MS)
    {
      if (idle_sleep_state != 0U)
      {
        idle_sleep_state = 0U;
      }
      return;
    }
    boot_hold_active = 0U;
  }

  /* User explicitly requested awake mode (short-press wake from STOP2). Stay
     awake until the user long-presses to release it. */
  if (s_user_awake != 0U)
  {
    if (idle_sleep_state != 0U)
    {
      idle_sleep_state = 0U;
      AppLedNoticeStart();
    }
    return;
  }

  if (AppSerialRecentlyActive(HAL_GetTick()) != 0U)
  {
    if (idle_sleep_state != 0U)
    {
      idle_sleep_state = 0U;
      AppLedNoticeStart();
    }
    return;
  }

  if (AppModbus_FileXferStartPending() != 0U)
  {
    return;
  }

  if (AppSamplingDueSoon(HAL_GetTick()) != 0U)
  {
    return;
  }

  if (AppLedNoticePoll() != 0U)
  {
    return;
  }

  if (idle_sleep_state == 0U)
  {
    idle_sleep_state = 1U;
    AppLedNoticeStart();
    return;
  }

  sleep_seconds = AppNextStop2SleepSeconds(HAL_GetTick());
  if (sleep_seconds == 0UL)
  {
    return;
  }

  AppEnterStop2Slice(sleep_seconds);
}

/* USER CODE END 0 */

int main(void)
{

  /* MCU Configuration--------------------------------------------------------*/

  /* Reset of all peripherals, Initializes the Flash interface and the Systick. */
  HAL_Init();

  /* Configure the system clock */
  SystemClock_Config();

  /* Configure the peripherals common clocks */
  PeriphCommonClock_Config();

  /* Initialize all configured peripherals */
  MX_GPIO_Init();
  MX_DMA_Init();
  MX_SDMMC1_SD_Init();
  MX_ADC1_Init();
  MX_I2C2_Init();
  MX_SPI1_Init();
  MX_TIM6_Init();
  MX_TIM7_Init();
  MX_USART1_UART_Init();
  MX_USART2_UART_Init();
  MX_USART3_UART_Init();
  MX_FATFS_Init();
  MX_RTC_Init();
  MX_SPI2_Init();
  /* USER CODE BEGIN 2 */
  /* IWDG fully removed from CubeMX. All HAL_IWDG_Refresh(&hiwdg) calls are
     stubbed to no-ops via the macro in USER CODE BEGIN PD. */
  /* Clear stale reset flags so a future debug session starts from a clean
     RCC_CSR. The boot-cause printf and the [ZZZ]/[WAKE] traces were
     temporary diagnostics — removed now that the sleep state machine is
     stable. */
  __HAL_RCC_CLEAR_RESET_FLAGS();
  /* USART1 start-bit wake-up disabled: PA10 floats while running on battery
     (no USB driver pulling it high) and the resulting noise triggers spurious
     wake-ups. The device now only wakes from STOP2 via RTC (scheduled
     sampling) or KEY0 EXTI (user press). Re-enable by uncommenting the line
     below if a host-initiated wake path is needed later. */
  /* AppUart1_EnableStopWakeup(); */
  {
    uint8_t power_latched;

  /* Latch main power rail: PWR_ON is active-high, must be set ASAP so the
     +2.8V_ADC rail (and other downstream rails) stay on after the boot key
     is released. AD7124 needs this to be powered. */
  power_latched = AppPower_CheckOnOffLowAndLatch();
  (void)power_latched;
  AD7124_BoardPowerOn(500U);
  adc_powered = 1U;

  /* printf("OPEN is OK!!!\r\n"); */
  /* if (power_latched != 0U)
  {
    printf("PWR_ON latched HIGH after ON_OFF LOW hold\r\n");
  }
  else
  {
    printf("PWR_ON not latched, continue without battery power lock\r\n");
  } */
  /* printf("ADC_PWR_EN set HIGH\r\n"); */
  }
  {
    HAL_StatusTypeDef config_status;
    uint32_t enabled_channel_mask;

    /* printf("\r\n=== EEPROM Config Test ===\r\n"); */
    AppConfigStore_Init(&app_config_store, &hi2c2);
    config_status = Eeprom_IsReady(&app_config_store.eeprom);
    if (config_status != HAL_OK)
    {
      /* printf("[EEPROM] not ready, HAL status = %d\r\n", (int)config_status); */
      boot_eeprom_diag = (uint16_t)(0x1000U | (hi2c2.ErrorCode & 0x0FFFU));
      AppConfig_LoadDefaults(&app_config);
      /* printf("[CONFIG] using RAM defaults only\r\n"); */
    }
    else
    {
      /* printf("[EEPROM] device ready\r\n"); */
      config_status = AppConfigStore_Load(&app_config_store, &app_config);
      if ((hi2c2.ErrorCode != 0U) && (boot_eeprom_diag == 0U))
      {
        boot_eeprom_diag = (uint16_t)(0x2000U | (hi2c2.ErrorCode & 0x0FFFU));
      }
      if (config_status != HAL_OK)
      {
        /* printf("[CONFIG] load error, HAL status = %d\r\n", (int)config_status); */
        AppConfig_LoadDefaults(&app_config);
      }
      else if (app_config_store.load_source == APP_CONFIG_STORE_LOAD_DEFAULT)
      {
        /* printf("[CONFIG] no valid EEPROM config, writing defaults...\r\n"); */
        HAL_IWDG_Refresh(&hiwdg);
        config_status = AppConfigStore_SaveDefaults(&app_config_store, &app_config);
        if ((config_status != HAL_OK) && (boot_eeprom_diag == 0U))
        {
          boot_eeprom_diag = (uint16_t)(0x3000U | (hi2c2.ErrorCode & 0x0FFFU));
        }
        (void)config_status;
        /* if (config_status == HAL_OK)
        {
          printf("[CONFIG] defaults saved to EEPROM\r\n");
        }
        else
        {
          printf("[CONFIG] save defaults fail, HAL status = %d\r\n", (int)config_status);
        } */
      }
      else
      {
        /* printf("[CONFIG] EEPROM config loaded\r\n"); */
      }
    }

    enabled_channel_mask = AppConfig_GetEnabledChannelMask(&app_config);
    printf("[CONFIG] Enabled channel mask: 0x%04lX\r\n", (unsigned long)enabled_channel_mask);
    for (uint8_t ch = 0U; ch < 16U; ch++)
    {
      if (app_config.channels[ch].enable != 0U)
      {
        printf("[CONFIG] CH%02u: enable=%u mode=%u pos=%u neg=%u gain=%u\r\n",
               (unsigned)ch,
               (unsigned)app_config.channels[ch].enable,
               (unsigned)app_config.channels[ch].mode,
               (unsigned)app_config.channels[ch].positive_input,
               (unsigned)app_config.channels[ch].negative_input,
               (unsigned)app_config.channels[ch].gain);
      }
    }
    /* printf("[CONFIG] source=%u slot=%u seq=%lu crc=0x%08lX\r\n", ... ); */
    /* printf("[CONFIG] device_id=%lu modbus=%u baud=%lu run=%u\r\n", ... ); */
    /* printf("[CONFIG] sample=%lus record=%lus avg=%u channel_mask=0x%04lX\r\n", ... ); */
    /* printf("=== EEPROM Config Test done ===\r\n"); */
    HAL_IWDG_Refresh(&hiwdg);
  }
  AppRtc_Init();
  {
    char rtc_timestamp[APP_RTC_TIMESTAMP_SIZE];

    if (AppRtc_FormatTimestamp(rtc_timestamp, sizeof(rtc_timestamp)) != 0U)
    {
      /* printf("[RTC] timestamp: %s\r\n", rtc_timestamp); */
      (void)rtc_timestamp;
    }
  }
  if (storage_boot_test_enable != 0U)
  {
    FRESULT sd_result;
    uint8_t sd_try;

    printf("\r\n=== SD Card Test ===\r\n");
    HAL_IWDG_Refresh(&hiwdg);
    printf("[SD] SD_PWR_EN before power on: %u\r\n", (unsigned)Storage_IsPowerEnabled());
    Storage_PowerOn(1000U);
    printf("[SD] SD_PWR_EN after power on: %u\r\n", (unsigned)Storage_IsPowerEnabled());
    PrintSdDebug("before mount");
    sd_result = FR_NOT_READY;
    for (sd_try = 0U; sd_try < 3U; sd_try++)
    {
      HAL_IWDG_Refresh(&hiwdg);
      ResetSdmmcForRetry();
      PrintSdDebug("before mount try");
      sd_result = Storage_Mount();
      if (sd_result == FR_OK)
      {
        break;
      }
      printf("[SD] mount try %u fail: %s (%d)\r\n",
             (unsigned)(sd_try + 1U),
             Storage_FresultText(sd_result),
             (int)sd_result);
      PrintSdDebug("mount fail");
      HAL_Delay(500U);
    }
    if (sd_result == FR_OK)
    {
      printf("[SD] mount ok\r\n");
      sd_result = Storage_WriteTestCsv();
      if (sd_result == FR_OK)
      {
        printf("[SD] write %s ok\r\n", STORAGE_TEST_FILE_NAME);
      }
      else
      {
        printf("[SD] write %s fail: %s (%d)\r\n",
               STORAGE_TEST_FILE_NAME,
               Storage_FresultText(sd_result),
               (int)sd_result);
      }
    }
    else
    {
      printf("[SD] mount fail: %s (%d)\r\n",
             Storage_FresultText(sd_result),
             (int)sd_result);
    }
    HAL_IWDG_Refresh(&hiwdg);
  }
  {
    uint8_t ad7124_id = 0U;
    uint8_t ad7124_status = 0U;
    uint16_t ad7124_control = 0U;
    uint32_t ad7124_error = 0U;
    HAL_StatusTypeDef ad_status;
    HAL_StatusTypeDef cfg_status;

    (void)ad7124_status;
    (void)ad7124_control;
    (void)ad7124_error;
    /* printf("\r\n\r\n=== AD7124-8 Communication Test ===\r\n"); */
    ad_status = AD7124_Init(&had7124, &hspi1);
    if (ad_status == HAL_OK)
    {
      ad_status = AD7124_ReadID(&had7124, &ad7124_id);
      if ((ad_status == HAL_OK) && (AD7124_IsDeviceID(ad7124_id) != 0U))
      {
        cfg_status = AD7124_ApplyConfig(&had7124, &app_config, 0U);
        if (cfg_status == HAL_OK)
        {
          ad7124_ready = 1U;
          printf("[AD7124] config applied from EEPROM (per-channel mode/gain/filter)\r\n");
          AppAd7124_2_TryBringUp();
          printf("[AD7124] ADC2 %s\r\n", (ad7124_2_ready != 0U) ? "detected" : "absent (16-ch mode)");
        }
        else
        {
          printf("[AD7124] config error, HAL=%d\r\n", (int)cfg_status);
        }
      }
      else
      {
        printf("[AD7124] ID error, HAL=%d ID=0x%02X\r\n", (int)ad_status, (unsigned)ad7124_id);
      }
    }
    else
    {
      printf("[AD7124] SPI init error, HAL=%d\r\n", (int)ad_status);
    }
  }

  /* Update subsystem status flags */
  eeprom_ok = (Eeprom_IsReady(&app_config_store.eeprom) == HAL_OK) ? 1U : 0U;
  rtc_ok = 1U; /* RTC initialized successfully if we got here */

  /* Ensure SD is powered + mounted for the recorder. If the boot self-test
     already ran, power is on; otherwise turn it on now. */
  if (Storage_IsPowerEnabled() == 0U)
  {
    Storage_PowerOn(APP_SD_POWER_SETTLE_MS);
  }
  sd_ok = (Storage_Mount() == FR_OK) ? 1U : 0U;

  /* Bring up the periodic recorder (accumulators + day-rotated SD writer) */
  Recorder_Init(&app_config);
  sd_ok = Recorder_GetSdOk();
  ControlOutputs_Init(&app_config);
  Battery_Init();
  (void)Battery_Update();   /* seed an initial reading for the host */
  battery_tick = HAL_GetTick();
  sample_tick = HAL_GetTick();
  prev_run_enable = app_config.run_enable;

  /* Initialize Modbus RTU */
  if (ad7124_ready != 0U && modbus_enabled != 0U)
  {
    ModbusCallbacks modbus_cb;
    modbus_cb.read_holding_regs = AppModbus_ReadHoldingRegisters;
    modbus_cb.read_input_regs = AppModbus_ReadInputRegisters;
    modbus_cb.write_single_reg = AppModbus_WriteSingleRegister;
    modbus_cb.write_multiple_regs = AppModbus_WriteMultipleRegisters;

    AppModbus_Init(&app_config, &app_config_store);
    AppModbus_SetReconfigureCallback(AppModbus_ReconfigureAd7124);
    /* Diagnostic: surface any boot-time EEPROM failure (step + I2C ErrorCode)
       in the ERR_CODE register (0x0053) shown on the dashboard. */
    if (boot_eeprom_diag != 0U)
    {
      AppModbus_SetErrorCode(boot_eeprom_diag);
    }
    /* Publish the boot checks before the first host request, even when the
       first scan is minutes away or waiting for a configured start time. */
    AppModbus_UpdateSystemStatus(ad7124_ready, eeprom_ok, rtc_ok, sd_ok, app_config.run_enable);
    ModbusRtu_Init(&huart1, app_config.modbus_addr, &modbus_cb);
    /* Boot directly into low-power mode: no post-boot 60 s serial window.
       Host must wake the device first (KEY0 short press) before Modbus. */
    printf("[MODBUS] initialized on USART1, addr=%u, baud=%lu\r\n",
           (unsigned)app_config.modbus_addr,
           (unsigned long)app_config.uart_baudrate);
    modbus_rx_armed = 1U;
  }

  /* Arm the boot-time visible-alive window: keeps the device out of STOP2
     and blinks the green LED for APP_BOOT_AWAKE_HOLD_MS so the user can see
     the board booted successfully before it drops to its low-power cadence. */
  boot_hold_active = 1U;
  boot_hold_started_tick = HAL_GetTick();
  /* USER CODE END 2 */

  /* Infinite loop */
  /* USER CODE BEGIN WHILE */
  while (1)
  {
    HAL_IWDG_Refresh(&hiwdg);
    /* USER CODE END WHILE */

    /* USER CODE BEGIN 3 */
    /* Long-press shutdown: hold ON_OFF low for 3s to cut power */
    AppPower_PollShutdown();
    AppKey0_PollModeToggle();
    if ((boot_hold_active != 0U) || (s_user_awake != 0U))
    {
      AppModbusRx_SetArmed(1U);
    }
    ControlOutputs_Poll();

    uint8_t notice_running = AppLedNoticePoll();

    /* Heartbeat: only blink while the host is recently active. In idle sleep
       the LED stays off, avoiding short duty-cycle ghost flashes. */
    if (notice_running != 0U)
    {
      /* Let the three-LED notice finish without heartbeat overriding it. */
    }
    else if ((boot_hold_active != 0U) ||
             (s_user_awake != 0U) ||
             (AppSerialRecentlyActive(HAL_GetTick()) != 0U))
    {
      if ((HAL_GetTick() - led_blink_tick) >= 250U)
      {
        led_blink_tick = HAL_GetTick();
        HAL_GPIO_TogglePin(LED_GREEN_GPIO_Port, LED_GREEN_Pin);
      }
    }
    else
    {
      HAL_GPIO_WritePin(LED_GREEN_GPIO_Port, LED_GREEN_Pin, GPIO_PIN_RESET);
    }

    /* Edge-detect run_enable 0->1: reset cadence so a freshly-started run
       waits a full sample_interval before its first scan, and recorder state
       starts clean. */
    if ((app_config.run_enable != 0U) && (prev_run_enable == 0U))
    {
      sd_ok = Recorder_Flush();
      if (Recorder_TakeWroteSinceLast() != 0U)
      {
        AppBlinkSdWrite();
      }
      sample_tick = HAL_GetTick();
      Recorder_ResetTiming();
      record_start_waiting = (AppRecordStartReached() == 0U) ? 1U : 0U;
    }
    else if ((app_config.run_enable == 0U) && (prev_run_enable != 0U))
    {
      sd_ok = Recorder_Flush();
      if (Recorder_TakeWroteSinceLast() != 0U)
      {
        AppBlinkSdWrite();
      }
      record_start_waiting = 0U;
    }
    prev_run_enable = app_config.run_enable;

    /* Periodic AD7124 scan + recorder feed. AD7124 stays powered when paused;
       only the schedule + Modbus realtime updates + SD writes are gated. */
    if ((app_config.run_enable != 0U) && (ad7124_ready != 0U))
    {
      uint32_t interval_ms = AppEffectiveSampleIntervalSeconds() * 1000UL;
      uint8_t start_reached;

      start_reached = AppRecordStartReached();
      if (start_reached == 0U)
      {
        record_start_waiting = 1U;
      }
      else if (record_start_waiting != 0U)
      {
        record_start_waiting = 0U;
        Recorder_ResetTiming();
        sample_tick = HAL_GetTick() - interval_ms;
      }

      if ((start_reached != 0U) && ((HAL_GetTick() - sample_tick) >= interval_ms))
      {
        uint8_t samples_read;
        uint8_t need_sd = Recorder_NextScanWillFlush();
        HAL_StatusTypeDef adc_wake_status;

        /* If SD power was explicitly cut, bring it back before a scan that
           will flush. For now the card is kept powered across STOP2 because
           runtime writes/file browsing must be stable before reintroducing
           SD power gating. */
        if ((need_sd != 0U) && (Storage_IsPowerEnabled() == 0U))
        {
          Storage_PowerOn(APP_SD_POWER_SETTLE_MS);
          /* InvalidateMount is called after STOP2 wake-up, so the next
             write will re-mount via Recorder_EnsureMounted. */
        }

        adc_wake_status = AppAd7124_EnsureReady();
        if (adc_wake_status != HAL_OK)
        {
          if (modbus_enabled != 0U)
          {
            AppModbus_UpdateSystemStatus(ad7124_ready, eeprom_ok, rtc_ok, sd_ok, app_config.run_enable);
          }
          AppBlinkAdcError();
          sample_tick = HAL_GetTick();
          AppMaybeSleepIdle();
          continue;
        }

        sample_tick = HAL_GetTick();

        /* Scan ADC1 (logical channels 0..15); then ADC2 (16..31) when it is
           present. A missing ADC2 simply contributes no samples. */
        samples_read = AppScanOneAdc(&had7124, 0U);
        if (ad7124_2_ready != 0U)
        {
          samples_read = (uint8_t)(samples_read +
                                   AppScanOneAdc(&had7124_2, APP_CONFIG_CHANNELS_PER_ADC));
        }

        if (samples_read == 0U)
        {
          AppBlinkAdcError();
        }

        Recorder_OnScanComplete();
        sd_ok = Recorder_GetSdOk();
        if (Recorder_TakeWroteSinceLast() != 0U)
        {
          AppBlinkSdWrite();
        }
        if (Recorder_TakeWriteErrorSinceLast() != 0U)
        {
          AppBlinkStorageError();
        }

        if (modbus_enabled != 0U)
        {
          AppModbus_UpdateSampleTimestamp();
          AppModbus_UpdateSystemStatus(ad7124_ready, eeprom_ok, rtc_ok, sd_ok, app_config.run_enable);
        }
      }
    }

    /* Keep the legacy debug printf loop available behind ad7124_loop_print_enable
       for bench debugging, but disabled by default to keep USART2 quiet during
       normal operation. */
    (void)ad7124_loop_print_enable;
    (void)ad7124_print_tick;

    /* Status is independent of the sampling cadence, including while waiting
       for the first record time. Keep it current before servicing requests. */
    if (modbus_enabled != 0U)
    {
      AppModbus_UpdateSystemStatus(ad7124_ready, eeprom_ok, rtc_ok, sd_ok, app_config.run_enable);
      ModbusRtu_Poll();
    }

    /* Battery voltage: low-rate background read. Uses ADC1, which is
       otherwise idle, so it does not interfere with AD7124 sampling. */
    if ((HAL_GetTick() - battery_tick) >= BATTERY_UPDATE_INTERVAL_MS)
    {
      (void)Battery_Update();
      battery_tick = HAL_GetTick();
    }

    /* File transfer kick: app_modbus set the pending flag when it answered a
       FC06 START. The FC06 ACK has been sent by ModbusRtu_Poll above, so we
       can now safely repurpose USART1 for YMODEM. */
    if (AppModbus_FileXferStartPending() != 0U)
    {
      const FileBrowserEntry *entry = FileBrowser_GetSelected();
      AppModbus_FileXferClearPending();

      if (entry == NULL)
      {
        AppModbus_FileXferSetState(5U, 0x0004U);
      }
      else
      {
        char file_path[FILE_BROWSER_NAME_SIZE + 8U];
        FRESULT ready;
        YModemResult yr;
        uint8_t had_pending_write;

        ready = Storage_EnsureReady(APP_SD_POWER_SETTLE_MS);
        if (ready != FR_OK)
        {
          sd_ok = 0U;
          ModbusRtu_ResumeRx();
          AppModbus_FileXferSetState(5U, 0x0004U);
        }
        else
        {
          had_pending_write = Recorder_HasPendingWrite();
          sd_ok = Recorder_Flush();
          FileBrowser_BuildSelectedPath(file_path, sizeof(file_path));

          /* ModbusRtu_PauseRx was already called inside WriteSingleRegister
             when the FC06 START arrived, so RXNE has been masked since before
             the ACK was sent. We only need to resume after YMODEM finishes. */
          yr = YModem_SendFile(&huart1, file_path, entry->name);
          ModbusRtu_ResumeRx();

          if (yr == YMODEM_OK)
          {
            /* A read proves the card recovered, but must not hide a failed
               flush of pending recording data. */
            if (had_pending_write == 0U)
            {
              sd_ok = 1U;
            }
            AppModbus_FileXferSetState(4U, 0U);
          }
          else
          {
            uint16_t err = (yr == YMODEM_FILE_OPEN_ERROR || yr == YMODEM_FILE_READ_ERROR)
                               ? 0x0004U : 0x00FFU;
            if (err == 0x0004U)
            {
              sd_ok = 0U;
            }
            AppModbus_FileXferSetState(5U, err);
          }
        }
      }
    }

    AppMaybeSleepIdle();
  }
  /* USER CODE END 3 */
}

void SystemClock_Config(void)
{
  RCC_OscInitTypeDef RCC_OscInitStruct = {0};
  RCC_ClkInitTypeDef RCC_ClkInitStruct = {0};

  /** Configure the main internal regulator output voltage
  */
  if (HAL_PWREx_ControlVoltageScaling(PWR_REGULATOR_VOLTAGE_SCALE1) != HAL_OK)
  {
    Error_Handler();
  }

  /** Configure LSE Drive Capability
  */
  HAL_PWR_EnableBkUpAccess();
  __HAL_RCC_LSEDRIVE_CONFIG(RCC_LSEDRIVE_LOW);

  /** Initializes the RCC Oscillators according to the specified parameters
  * in the RCC_OscInitTypeDef structure.
  */
  RCC_OscInitStruct.OscillatorType = RCC_OSCILLATORTYPE_HSI|RCC_OSCILLATORTYPE_HSE
                              |RCC_OSCILLATORTYPE_LSE;
  RCC_OscInitStruct.HSEState = RCC_HSE_ON;
  RCC_OscInitStruct.LSEState = RCC_LSE_ON;
  RCC_OscInitStruct.HSIState = RCC_HSI_ON;
  RCC_OscInitStruct.HSICalibrationValue = RCC_HSICALIBRATION_DEFAULT;
  RCC_OscInitStruct.PLL.PLLState = RCC_PLL_ON;
  RCC_OscInitStruct.PLL.PLLSource = RCC_PLLSOURCE_HSE;
  RCC_OscInitStruct.PLL.PLLM = 1;
  RCC_OscInitStruct.PLL.PLLN = 20;
  RCC_OscInitStruct.PLL.PLLP = RCC_PLLP_DIV7;
  RCC_OscInitStruct.PLL.PLLQ = RCC_PLLQ_DIV2;
  RCC_OscInitStruct.PLL.PLLR = RCC_PLLR_DIV2;
  if (HAL_RCC_OscConfig(&RCC_OscInitStruct) != HAL_OK)
  {
    Error_Handler();
  }

  /** Initializes the CPU, AHB and APB buses clocks
  */
  RCC_ClkInitStruct.ClockType = RCC_CLOCKTYPE_HCLK|RCC_CLOCKTYPE_SYSCLK
                              |RCC_CLOCKTYPE_PCLK1|RCC_CLOCKTYPE_PCLK2;
  RCC_ClkInitStruct.SYSCLKSource = RCC_SYSCLKSOURCE_PLLCLK;
  RCC_ClkInitStruct.AHBCLKDivider = RCC_SYSCLK_DIV1;
  RCC_ClkInitStruct.APB1CLKDivider = RCC_HCLK_DIV1;
  RCC_ClkInitStruct.APB2CLKDivider = RCC_HCLK_DIV1;

  if (HAL_RCC_ClockConfig(&RCC_ClkInitStruct, FLASH_LATENCY_4) != HAL_OK)
  {
    Error_Handler();
  }
}

void PeriphCommonClock_Config(void)
{
  RCC_PeriphCLKInitTypeDef PeriphClkInit = {0};

  /** Initializes the peripherals clock
  */
  PeriphClkInit.PeriphClockSelection = RCC_PERIPHCLK_SDMMC1|RCC_PERIPHCLK_ADC;
  PeriphClkInit.AdcClockSelection = RCC_ADCCLKSOURCE_PLLSAI1;
  PeriphClkInit.Sdmmc1ClockSelection = RCC_SDMMC1CLKSOURCE_PLLSAI1;
  PeriphClkInit.PLLSAI1.PLLSAI1Source = RCC_PLLSOURCE_HSE;
  PeriphClkInit.PLLSAI1.PLLSAI1M = 1;
  PeriphClkInit.PLLSAI1.PLLSAI1N = 8;
  PeriphClkInit.PLLSAI1.PLLSAI1P = RCC_PLLP_DIV7;
  PeriphClkInit.PLLSAI1.PLLSAI1Q = RCC_PLLQ_DIV2;
  PeriphClkInit.PLLSAI1.PLLSAI1R = RCC_PLLR_DIV2;
  PeriphClkInit.PLLSAI1.PLLSAI1ClockOut = RCC_PLLSAI1_48M2CLK|RCC_PLLSAI1_ADC1CLK;
  if (HAL_RCCEx_PeriphCLKConfig(&PeriphClkInit) != HAL_OK)
  {
    Error_Handler();
  }
}

/* USER CODE BEGIN 4 */

/* ---------------------------------------------------------------------------
 * printf retarget to USART1 (PA9 TX / PA10 RX, 115200 8N1).
 * If "Use MicroLIB" is OFF in Keil, the __use_no_semihosting stubs below keep
 * the linker happy.
 * --------------------------------------------------------------------------- */
#if defined(__ARMCC_VERSION) && !defined(__MICROLIB)
#pragma import(__use_no_semihosting)
struct __FILE { int handle; };
FILE __stdout;
void _sys_exit(int x)   { (void)x; while (1) { } }
void _ttywrch(int ch)   { (void)ch; }
#endif

int fputc(int ch, FILE *f)
{
  (void)f;
  HAL_UART_Transmit(&huart2, (uint8_t *)&ch, 1U, 100U);
  return ch;
}

/* USER CODE END 4 */

void Error_Handler(void)
{
  __disable_irq();
  while (1)
  {
  }
}
